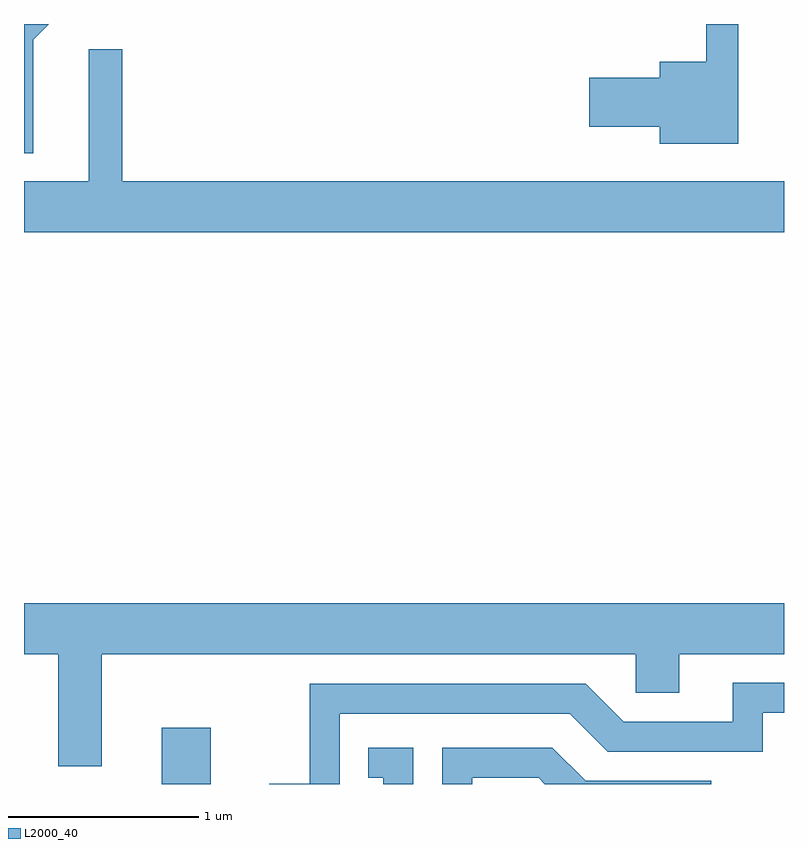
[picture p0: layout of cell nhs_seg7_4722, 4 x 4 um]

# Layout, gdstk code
import gdstk
lib = gdstk.Library(unit=1e-6, precision=1e-09)
def R(c, l, rs):  # rectangles x0, y0, x1, y1
    for r in rs: c.add(gdstk.rectangle(r[:2], r[2:], *l))
def P(c, l, *ps):  # polygons
    for p in ps: c.add(gdstk.Polygon(p, *l))
L2000_40 = (2000, 40)

nhs_seg7_4722 = lib.new_cell('nhs_seg7_4722')
R(nhs_seg7_4722, L2000_40, [(330.336,1760.252,330.594,1760.549)])
P(nhs_seg7_4722, L2000_40, [(333.369,1764.252),(333.201,1764.252),(333.201,1764.054),(332.956,1764.054),(332.956,1763.969),(332.586,1763.969),(332.586,1763.711),(332.956,1763.711),(332.956,1763.621),(333.369,1763.621)],
  [(329.659,1764.169),(329.742,1764.252),(329.611,1764.252),(329.611,1763.573),(329.659,1763.573)],
  [(333.611,1763.424),(330.129,1763.424),(330.129,1764.119),(329.951,1764.119),(329.951,1763.424),(329.611,1763.424),(329.611,1763.156),(333.611,1763.156)],
  [(330.019,1760.936),(332.831,1760.936),(332.831,1760.731),(333.059,1760.731),(333.059,1760.936),(333.611,1760.936),(333.611,1761.204),(329.611,1761.204),(329.611,1760.936),(329.791,1760.936),(329.791,1760.346),(330.019,1760.346)],
  [(331.274,1760.621),(332.484,1760.621),(332.684,1760.421),(333.499,1760.421),(333.499,1760.626),(333.611,1760.626),(333.611,1760.784),(333.341,1760.784),(333.341,1760.579),(332.767,1760.579),(332.567,1760.779),(331.116,1760.779),(331.116,1760.254),(330.901,1760.254),(330.901,1760.252),(331.274,1760.252)],
  [(331.659,1760.444),(331.423,1760.444),(331.423,1760.286),(331.501,1760.286),(331.501,1760.252),(331.659,1760.252)],
  [(331.969,1760.286),(332.319,1760.286),(332.353,1760.252),(333.229,1760.252),(333.229,1760.269),(332.567,1760.269),(332.392,1760.444),(331.811,1760.444),(331.811,1760.252),(331.969,1760.252)])

lib.write_gds('nhs_seg7_4722.gds')
